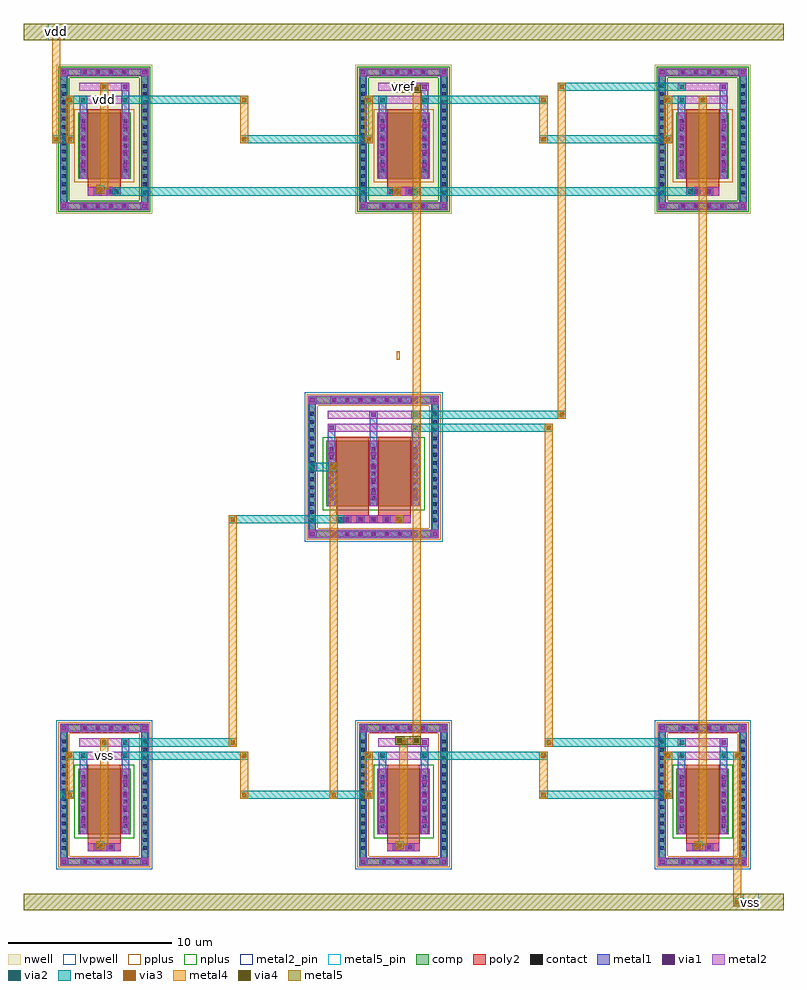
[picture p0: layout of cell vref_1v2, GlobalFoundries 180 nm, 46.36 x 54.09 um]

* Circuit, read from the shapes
.subckt vref_1v2 vdd vref vss
XM1 n1 n1 vss vss nfet_03v3 w=4u l=2u
XM2 n2 n1 n3 vss nfet_03v3 w=4u l=2u m=2
XM3 vref vref vss vss nfet_03v3 w=4u l=2u
XM4 n3 vdd vss vss nfet_03v3 w=4u l=2u
XM5 n4 n4 vdd vdd pfet_03v3 w=4u l=2u
XM6 vref n4 vdd vdd pfet_03v3 w=4u l=2u
XM7 n2 n4 vdd vdd pfet_03v3 w=4u l=2u
.ends

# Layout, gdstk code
import gdstk
lib = gdstk.Library(unit=1e-6, precision=5e-09)
def R(c, l, rs):  # rectangles x0, y0, x1, y1
    for r in rs: c.add(gdstk.rectangle(r[:2], r[2:], *l))
def A(c, l, x, y, w, h, nx, ny, dx, dy):  # array of equal rectangles
    R(c, l, [(x+i*dx, y+j*dy, x+i*dx+w, y+j*dy+h) for i in range(nx) for j in range(ny)])
def P(c, l, *ps):  # polygons
    for p in ps: c.add(gdstk.Polygon(p, *l))
nwell = (21, 0)
comp = (22, 0)
poly2 = (30, 0)
pplus = (31, 0)
nplus = (32, 0)
contact = (33, 0)
metal1 = (34, 0)
via1 = (35, 0)
metal2 = (36, 0)
metal2_pin = (36, 10)
via2 = (38, 0)
via3 = (40, 0)
via4 = (41, 0)
metal3 = (42, 0)
metal4 = (46, 0)
metal5 = (81, 0)
metal5_pin = (81, 10)
lvpwell = (204, 0)

vref_1v2 = lib.new_cell('vref_1v2')
A(vref_1v2, nwell, -2.93, 35.455, 5.86, 9.09, 3, 1, 18.25, 0)
A(vref_1v2, nwell, -2.77, 35.615, 5.54, 8.77, 3, 1, 18.25, 0)
A(vref_1v2, comp, -1.38, -4.265, 0.36, 0.36, 4, 2, 0.8, 8.17)
A(vref_1v2, comp, -1.38, -4.265, 2.76, 0.36, 3, 2, 18.25, 8.17)
A(vref_1v2, comp, 16.87, -4.265, 0.36, 0.36, 4, 2, 0.8, 8.17)
A(vref_1v2, comp, 35.12, -4.265, 0.36, 0.36, 4, 2, 0.8, 8.17)
A(vref_1v2, comp, -2.65, -3.43, 0.36, 0.36, 1, 14, 0, 0.5)
A(vref_1v2, comp, 2.29, -3.43, 0.36, 0.36, 1, 14, 0, 0.5)
A(vref_1v2, comp, 15.6, -3.43, 0.36, 0.36, 1, 14, 0, 0.5)
A(vref_1v2, comp, 20.54, -3.43, 0.36, 0.36, 1, 14, 0, 0.5)
A(vref_1v2, comp, 33.85, -3.43, 0.36, 0.36, 1, 14, 0, 0.5)
A(vref_1v2, comp, 38.79, -3.43, 0.36, 0.36, 1, 14, 0, 0.5)
A(vref_1v2, comp, -1.6, -2.405, 3.2, 4, 3, 2, 18.25, 40)
A(vref_1v2, comp, 13.845, 15.735, 0.36, 0.36, 7, 2, 0.8, 8.17)
A(vref_1v2, comp, 12.495, 16.57, 0.36, 0.36, 1, 14, 0, 0.5)
A(vref_1v2, comp, 19.995, 16.57, 0.36, 0.36, 1, 14, 0, 0.5)
A(vref_1v2, comp, -1.38, 35.735, 0.36, 0.36, 4, 2, 0.8, 8.17)
A(vref_1v2, comp, -1.38, 35.735, 2.76, 0.36, 3, 2, 18.25, 8.17)
A(vref_1v2, comp, 16.87, 35.735, 0.36, 0.36, 4, 2, 0.8, 8.17)
A(vref_1v2, comp, 35.12, 35.735, 0.36, 0.36, 4, 2, 0.8, 8.17)
A(vref_1v2, comp, -2.65, 36.57, 0.36, 0.36, 1, 14, 0, 0.5)
A(vref_1v2, comp, 2.29, 36.57, 0.36, 0.36, 1, 14, 0, 0.5)
A(vref_1v2, comp, 15.6, 36.57, 0.36, 0.36, 1, 14, 0, 0.5)
A(vref_1v2, comp, 20.54, 36.57, 0.36, 0.36, 1, 14, 0, 0.5)
A(vref_1v2, comp, 33.85, 36.57, 0.36, 0.36, 1, 14, 0, 0.5)
A(vref_1v2, comp, 38.79, 36.57, 0.36, 0.36, 1, 14, 0, 0.5)
R(vref_1v2, comp, [(-2.65,-3.43,-2.29,3.43), (2.29,-3.43,2.65,3.43), (15.6,-3.43,15.96,3.43), (20.54,-3.43,20.9,3.43), (33.85,-3.43,34.21,3.43), (38.79,-3.43,39.15,3.43), (13.845,15.735,19.005,16.095), (12.495,16.57,12.855,23.43), (19.995,16.57,20.355,23.43), (13.545,17.595,19.305,21.595), (13.845,23.905,19.005,24.265), (-2.65,36.57,-2.29,43.43), (2.29,36.57,2.65,43.43), (15.6,36.57,15.96,43.43), (20.54,36.57,20.9,43.43), (33.85,36.57,34.21,43.43), (38.79,36.57,39.15,43.43)])
P(vref_1v2, comp, [(2.65,44.265),(-2.65,44.265),(-2.65,36.095),(-2.29,36.095),(-2.29,43.905),(2.29,43.905),(2.29,36.095),(-2.29,36.095),(-2.65,36.095),(-2.65,35.735),(2.65,35.735)],
  [(20.9,4.265),(15.6,4.265),(15.6,-3.905),(15.96,-3.905),(15.96,3.905),(20.54,3.905),(20.54,-3.905),(15.96,-3.905),(15.6,-3.905),(15.6,-4.265),(20.9,-4.265)],
  [(39.15,4.265),(33.85,4.265),(33.85,-3.905),(34.21,-3.905),(34.21,3.905),(38.79,3.905),(38.79,-3.905),(34.21,-3.905),(33.85,-3.905),(33.85,-4.265),(39.15,-4.265)],
  [(20.355,24.265),(12.495,24.265),(12.495,16.095),(12.855,16.095),(12.855,23.905),(19.995,23.905),(19.995,16.095),(12.855,16.095),(12.495,16.095),(12.495,15.735),(20.355,15.735)],
  [(2.65,4.265),(-2.65,4.265),(-2.65,-3.905),(-2.29,-3.905),(-2.29,3.905),(2.29,3.905),(2.29,-3.905),(-2.29,-3.905),(-2.65,-3.905),(-2.65,-4.265),(2.65,-4.265)],
  [(20.9,44.265),(15.6,44.265),(15.6,36.095),(15.96,36.095),(15.96,43.905),(20.54,43.905),(20.54,36.095),(15.96,36.095),(15.6,36.095),(15.6,35.735),(20.9,35.735)],
  [(39.15,44.265),(33.85,44.265),(33.85,36.095),(34.21,36.095),(34.21,43.905),(38.79,43.905),(38.79,36.095),(34.21,36.095),(33.85,36.095),(33.85,35.735),(39.15,35.735)])
A(vref_1v2, poly2, -1, -3.445, 2, 0.5, 3, 2, 18.25, 40)
A(vref_1v2, poly2, -1, -2.945, 2, 0.3, 3, 2, 18.25, 40)
A(vref_1v2, poly2, -1, -2.645, 2, 4.48, 3, 2, 18.25, 40)
A(vref_1v2, poly2, 14.645, 16.625, 0.36, 0.36, 5, 1, 0.8, 0)
R(vref_1v2, poly2, [(-0.58,-3.375,-0.22,-3.015), (0.22,-3.375,0.58,-3.015), (17.67,-3.375,18.03,-3.015), (18.47,-3.375,18.83,-3.015), (35.92,-3.375,36.28,-3.015), (36.72,-3.375,37.08,-3.015), (14.145,16.555,18.705,17.055), (14.145,17.055,16.145,17.355), (16.705,17.055,18.705,17.355), (14.145,17.355,16.145,21.835), (16.705,17.355,18.705,21.835), (-0.58,36.625,-0.22,36.985), (0.22,36.625,0.58,36.985), (17.67,36.625,18.03,36.985), (18.47,36.625,18.83,36.985), (35.92,36.625,36.28,36.985), (36.72,36.625,37.08,36.985)])
A(vref_1v2, pplus, -1.83, 37.365, 3.66, 4.46, 3, 1, 18.25, 0)
P(vref_1v2, pplus, [(21.06,4.425),(15.44,4.425),(15.44,-3.745),(16.12,-3.745),(16.12,3.745),(20.38,3.745),(20.38,-3.745),(16.12,-3.745),(15.44,-3.745),(15.44,-4.425),(21.06,-4.425)],
  [(39.31,4.425),(33.69,4.425),(33.69,-3.745),(34.37,-3.745),(34.37,3.745),(38.63,3.745),(38.63,-3.745),(34.37,-3.745),(33.69,-3.745),(33.69,-4.425),(39.31,-4.425)],
  [(20.515,24.425),(12.335,24.425),(12.335,16.255),(13.015,16.255),(13.015,23.745),(19.835,23.745),(19.835,16.255),(13.015,16.255),(12.335,16.255),(12.335,15.575),(20.515,15.575)],
  [(2.81,4.425),(-2.81,4.425),(-2.81,-3.745),(-2.13,-3.745),(-2.13,3.745),(2.13,3.745),(2.13,-3.745),(-2.13,-3.745),(-2.81,-3.745),(-2.81,-4.425),(2.81,-4.425)])
A(vref_1v2, nplus, -1.83, -2.635, 3.66, 4.46, 3, 1, 18.25, 0)
R(vref_1v2, nplus, [(13.315,17.365,19.535,21.825)])
P(vref_1v2, nplus, [(2.81,44.425),(-2.81,44.425),(-2.81,36.255),(-2.13,36.255),(-2.13,43.745),(2.13,43.745),(2.13,36.255),(-2.13,36.255),(-2.81,36.255),(-2.81,35.575),(2.81,35.575)],
  [(21.06,44.425),(15.44,44.425),(15.44,36.255),(16.12,36.255),(16.12,43.745),(20.38,43.745),(20.38,36.255),(16.12,36.255),(15.44,36.255),(15.44,35.575),(21.06,35.575)],
  [(39.31,44.425),(33.69,44.425),(33.69,36.255),(34.37,36.255),(34.37,43.745),(38.63,43.745),(38.63,36.255),(34.37,36.255),(33.69,36.255),(33.69,35.575),(39.31,35.575)])
A(vref_1v2, contact, -1.31, -4.195, 0.22, 0.22, 4, 2, 0.8, 8.17)
A(vref_1v2, contact, 16.94, -4.195, 0.22, 0.22, 4, 2, 0.8, 8.17)
A(vref_1v2, contact, 35.19, -4.195, 0.22, 0.22, 4, 2, 0.8, 8.17)
A(vref_1v2, contact, -2.58, -3.36, 0.22, 0.22, 1, 14, 0, 0.5)
A(vref_1v2, contact, 2.36, -3.36, 0.22, 0.22, 1, 14, 0, 0.5)
A(vref_1v2, contact, 15.67, -3.36, 0.22, 0.22, 1, 14, 0, 0.5)
A(vref_1v2, contact, 20.61, -3.36, 0.22, 0.22, 1, 14, 0, 0.5)
A(vref_1v2, contact, 33.92, -3.36, 0.22, 0.22, 1, 14, 0, 0.5)
A(vref_1v2, contact, 38.86, -3.36, 0.22, 0.22, 1, 14, 0, 0.5)
A(vref_1v2, contact, -1.39, -2.015, 0.22, 0.22, 1, 7, 0, 0.5)
A(vref_1v2, contact, 1.17, -2.015, 0.22, 0.22, 1, 7, 0, 0.5)
A(vref_1v2, contact, 16.86, -2.015, 0.22, 0.22, 1, 7, 0, 0.5)
A(vref_1v2, contact, 19.42, -2.015, 0.22, 0.22, 1, 7, 0, 0.5)
A(vref_1v2, contact, 35.11, -2.015, 0.22, 0.22, 1, 7, 0, 0.5)
A(vref_1v2, contact, 37.67, -2.015, 0.22, 0.22, 1, 7, 0, 0.5)
A(vref_1v2, contact, 13.915, 15.805, 0.22, 0.22, 7, 2, 0.8, 8.17)
A(vref_1v2, contact, 12.565, 16.64, 0.22, 0.22, 1, 14, 0, 0.5)
A(vref_1v2, contact, 20.065, 16.64, 0.22, 0.22, 1, 14, 0, 0.5)
A(vref_1v2, contact, 14.715, 16.695, 0.22, 0.22, 5, 1, 0.8, 0)
A(vref_1v2, contact, 13.755, 17.985, 0.22, 0.22, 3, 7, 2.56, 0.5)
A(vref_1v2, contact, -1.31, 35.805, 0.22, 0.22, 4, 2, 0.8, 8.17)
A(vref_1v2, contact, 16.94, 35.805, 0.22, 0.22, 4, 2, 0.8, 8.17)
A(vref_1v2, contact, 35.19, 35.805, 0.22, 0.22, 4, 2, 0.8, 8.17)
A(vref_1v2, contact, -2.58, 36.64, 0.22, 0.22, 1, 14, 0, 0.5)
A(vref_1v2, contact, 2.36, 36.64, 0.22, 0.22, 1, 14, 0, 0.5)
A(vref_1v2, contact, 15.67, 36.64, 0.22, 0.22, 1, 14, 0, 0.5)
A(vref_1v2, contact, 20.61, 36.64, 0.22, 0.22, 1, 14, 0, 0.5)
A(vref_1v2, contact, 33.92, 36.64, 0.22, 0.22, 1, 14, 0, 0.5)
A(vref_1v2, contact, 38.86, 36.64, 0.22, 0.22, 1, 14, 0, 0.5)
A(vref_1v2, contact, -1.39, 37.985, 0.22, 0.22, 1, 7, 0, 0.5)
A(vref_1v2, contact, 1.17, 37.985, 0.22, 0.22, 1, 7, 0, 0.5)
A(vref_1v2, contact, 16.86, 37.985, 0.22, 0.22, 1, 7, 0, 0.5)
A(vref_1v2, contact, 19.42, 37.985, 0.22, 0.22, 1, 7, 0, 0.5)
A(vref_1v2, contact, 35.11, 37.985, 0.22, 0.22, 1, 7, 0, 0.5)
A(vref_1v2, contact, 37.67, 37.985, 0.22, 0.22, 1, 7, 0, 0.5)
R(vref_1v2, contact, [(-0.51,-3.305,-0.29,-3.085), (0.29,-3.305,0.51,-3.085), (17.74,-3.305,17.96,-3.085), (18.54,-3.305,18.76,-3.085), (35.99,-3.305,36.21,-3.085), (36.79,-3.305,37.01,-3.085), (-0.51,36.695,-0.29,36.915), (0.29,36.695,0.51,36.915), (17.74,36.695,17.96,36.915), (18.54,36.695,18.76,36.915), (35.99,36.695,36.21,36.915), (36.79,36.695,37.01,36.915)])
A(vref_1v2, metal1, -2.7, -4.335, 0.5, 0.5, 1, 3, 0, 4.085)
A(vref_1v2, metal1, -1.45, -4.335, 0.5, 0.5, 4, 2, 0.8, 8.17)
A(vref_1v2, metal1, -1.45, -4.335, 2.9, 0.5, 3, 2, 18.25, 8.17)
A(vref_1v2, metal1, 16.8, -4.335, 0.5, 0.5, 4, 2, 0.8, 8.17)
A(vref_1v2, metal1, 35.05, -4.335, 0.5, 0.5, 4, 2, 0.8, 8.17)
A(vref_1v2, metal1, -2.7, -3.48, 0.46, 0.46, 1, 14, 0, 0.5)
A(vref_1v2, metal1, 2.24, -3.48, 0.46, 0.46, 1, 14, 0, 0.5)
A(vref_1v2, metal1, 15.55, -3.48, 0.46, 0.46, 1, 14, 0, 0.5)
A(vref_1v2, metal1, 20.49, -3.48, 0.46, 0.46, 1, 14, 0, 0.5)
A(vref_1v2, metal1, 33.8, -3.48, 0.46, 0.46, 1, 14, 0, 0.5)
A(vref_1v2, metal1, 38.74, -3.48, 0.46, 0.46, 1, 14, 0, 0.5)
A(vref_1v2, metal1, -1.51, -2.135, 0.46, 0.46, 1, 7, 0, 0.5)
A(vref_1v2, metal1, 1.05, -2.135, 0.46, 0.46, 1, 7, 0, 0.5)
A(vref_1v2, metal1, 16.74, -2.135, 0.46, 0.46, 1, 7, 0, 0.5)
A(vref_1v2, metal1, 19.3, -2.135, 0.46, 0.46, 1, 7, 0, 0.5)
A(vref_1v2, metal1, 34.99, -2.135, 0.46, 0.46, 1, 7, 0, 0.5)
A(vref_1v2, metal1, 37.55, -2.135, 0.46, 0.46, 1, 7, 0, 0.5)
A(vref_1v2, metal1, -1.53, -1.855, 0.5, 0.5, 1, 4, 0, 0.8)
A(vref_1v2, metal1, 1.03, -1.855, 0.5, 0.5, 1, 4, 0, 0.8)
A(vref_1v2, metal1, 16.72, -1.855, 0.5, 0.5, 1, 4, 0, 0.8)
A(vref_1v2, metal1, 19.28, -1.855, 0.5, 0.5, 1, 4, 0, 0.8)
A(vref_1v2, metal1, 34.97, -1.855, 0.5, 0.5, 1, 4, 0, 0.8)
A(vref_1v2, metal1, 37.53, -1.855, 0.5, 0.5, 1, 4, 0, 0.8)
A(vref_1v2, metal1, -1.51, 1.595, 0.46, 1.05, 3, 2, 18.25, 40)
A(vref_1v2, metal1, 1.05, 1.595, 0.46, 1.85, 3, 2, 18.25, 40)
A(vref_1v2, metal1, -1.53, 2.145, 0.5, 0.5, 3, 2, 18.25, 40)
A(vref_1v2, metal1, 1.03, 2.945, 0.5, 0.5, 3, 2, 18.25, 40)
A(vref_1v2, metal1, 12.445, 15.665, 0.5, 0.5, 1, 3, 0, 4.085)
A(vref_1v2, metal1, 13.775, 15.665, 0.5, 0.5, 7, 2, 0.8, 8.17)
A(vref_1v2, metal1, 12.445, 16.52, 0.46, 0.46, 1, 14, 0, 0.5)
A(vref_1v2, metal1, 19.945, 16.52, 0.46, 0.46, 1, 14, 0, 0.5)
A(vref_1v2, metal1, 14.575, 16.555, 0.5, 0.5, 5, 1, 0.8, 0)
A(vref_1v2, metal1, 13.635, 17.595, 0.46, 4, 3, 1, 2.56, 0)
A(vref_1v2, metal1, 13.635, 17.865, 0.46, 0.46, 3, 7, 2.56, 0.5)
A(vref_1v2, metal1, 13.615, 18.145, 0.5, 0.5, 3, 4, 2.56, 0.8)
A(vref_1v2, metal1, 13.615, 18.145, 0.5, 2.9, 3, 1, 2.56, 0)
A(vref_1v2, metal1, -1.45, 35.665, 0.5, 0.5, 4, 2, 0.8, 8.17)
A(vref_1v2, metal1, -1.45, 35.665, 2.9, 0.5, 3, 2, 18.25, 8.17)
A(vref_1v2, metal1, 16.8, 35.665, 0.5, 0.5, 4, 2, 0.8, 8.17)
A(vref_1v2, metal1, 35.05, 35.665, 0.5, 0.5, 4, 2, 0.8, 8.17)
A(vref_1v2, metal1, -2.7, 36.52, 0.46, 0.46, 1, 14, 0, 0.5)
A(vref_1v2, metal1, 2.24, 36.52, 0.46, 0.46, 1, 14, 0, 0.5)
A(vref_1v2, metal1, 15.55, 36.52, 0.46, 0.46, 1, 14, 0, 0.5)
A(vref_1v2, metal1, 20.49, 36.52, 0.46, 0.46, 1, 14, 0, 0.5)
A(vref_1v2, metal1, 33.8, 36.52, 0.46, 0.46, 1, 14, 0, 0.5)
A(vref_1v2, metal1, 38.74, 36.52, 0.46, 0.46, 1, 14, 0, 0.5)
A(vref_1v2, metal1, -1.51, 37.865, 0.46, 0.46, 1, 7, 0, 0.5)
A(vref_1v2, metal1, 1.05, 37.865, 0.46, 0.46, 1, 7, 0, 0.5)
A(vref_1v2, metal1, 16.74, 37.865, 0.46, 0.46, 1, 7, 0, 0.5)
A(vref_1v2, metal1, 19.3, 37.865, 0.46, 0.46, 1, 7, 0, 0.5)
A(vref_1v2, metal1, 34.99, 37.865, 0.46, 0.46, 1, 7, 0, 0.5)
A(vref_1v2, metal1, 37.55, 37.865, 0.46, 0.46, 1, 7, 0, 0.5)
A(vref_1v2, metal1, -1.53, 38.145, 0.5, 0.5, 1, 4, 0, 0.8)
A(vref_1v2, metal1, 1.03, 38.145, 0.5, 0.5, 1, 4, 0, 0.8)
A(vref_1v2, metal1, 16.72, 38.145, 0.5, 0.5, 1, 4, 0, 0.8)
A(vref_1v2, metal1, 19.28, 38.145, 0.5, 0.5, 1, 4, 0, 0.8)
A(vref_1v2, metal1, 34.97, 38.145, 0.5, 0.5, 1, 4, 0, 0.8)
A(vref_1v2, metal1, 37.53, 38.145, 0.5, 0.5, 1, 4, 0, 0.8)
R(vref_1v2, metal1, [(-2.7,-4.335,-2.2,-3.835), (-2.7,-4.335,-2.24,-3.905), (2.2,-4.335,2.7,-3.835), (2.2,-4.335,2.7,-3.835), (2.24,-4.335,2.7,-3.905), (15.55,-4.335,16.05,-3.835), (15.55,-4.335,16.05,-3.835), (15.55,-4.335,16.01,-3.905), (20.45,-4.335,20.95,-3.835), (20.45,-4.335,20.95,-3.835), (20.49,-4.335,20.95,-3.905), (33.8,-4.335,34.3,-3.835), (33.8,-4.335,34.3,-3.835), (33.8,-4.335,34.26,-3.905), (38.7,-4.335,39.2,-3.835), (38.7,-4.335,39.2,-3.835), (38.74,-4.335,39.2,-3.905), (-2.7,-3.905,-2.24,3.905), (2.24,-3.905,2.7,3.905), (15.55,-3.905,16.01,3.905), (20.49,-3.905,20.95,3.905), (33.8,-3.905,34.26,3.905), (38.74,-3.905,39.2,3.905), (-0.65,-3.445,-0.15,-2.945), (0.15,-3.445,0.65,-2.945), (17.6,-3.445,18.1,-2.945), (18.4,-3.445,18.9,-2.945), (35.85,-3.445,36.35,-2.945), (36.65,-3.445,37.15,-2.945), (-1.51,-2.405,-1.05,1.595), (1.05,-2.405,1.51,1.595), (16.74,-2.405,17.2,1.595), (19.3,-2.405,19.76,1.595), (34.99,-2.405,35.45,1.595), (37.55,-2.405,38.01,1.595), (-1.53,-1.855,-1.03,1.045), (1.03,-1.855,1.53,1.045), (16.72,-1.855,17.22,1.045), (19.28,-1.855,19.78,1.045), (34.97,-1.855,35.47,1.045), (37.53,-1.855,38.03,1.045), (15.55,-0.25,16.05,0.25), (15.55,-0.25,16.05,0.25), (15.55,-0.25,16.05,0.25), (33.8,-0.25,34.3,0.25), (33.8,-0.25,34.3,0.25), (-2.7,3.835,-2.2,4.335), (2.2,3.835,2.7,4.335), (2.2,3.835,2.7,4.335), (15.55,3.835,16.05,4.335), (15.55,3.835,16.05,4.335), (20.45,3.835,20.95,4.335), (20.45,3.835,20.95,4.335), (33.8,3.835,34.3,4.335), (33.8,3.835,34.3,4.335), (38.7,3.835,39.2,4.335), (38.7,3.835,39.2,4.335), (-2.7,3.905,-2.24,4.335), (2.24,3.905,2.7,4.335), (15.55,3.905,16.01,4.335), (20.49,3.905,20.95,4.335), (33.8,3.905,34.26,4.335), (38.74,3.905,39.2,4.335), (12.445,15.665,12.945,16.165), (12.445,15.665,12.905,16.095), (13.775,15.665,19.075,16.165), (19.905,15.665,20.405,16.165), (19.905,15.665,20.405,16.165), (19.945,15.665,20.405,16.095), (12.445,16.095,12.905,23.905), (19.945,16.095,20.405,23.905), (13.635,21.595,14.095,22.645), (16.195,21.595,16.655,23.445), (18.755,21.595,19.215,22.645), (13.615,22.145,14.115,22.645), (18.735,22.145,19.235,22.645), (16.175,22.945,16.675,23.445), (12.445,23.835,12.945,24.335), (13.775,23.835,19.075,24.335), (19.905,23.835,20.405,24.335), (19.905,23.835,20.405,24.335), (12.445,23.905,12.905,24.335), (19.945,23.905,20.405,24.335), (-2.7,35.665,-2.2,36.165), (-2.7,35.665,-2.2,36.165), (-2.7,35.665,-2.24,36.095), (2.2,35.665,2.7,36.165), (2.2,35.665,2.7,36.165), (2.24,35.665,2.7,36.095), (15.55,35.665,16.05,36.165), (15.55,35.665,16.05,36.165), (15.55,35.665,16.01,36.095), (20.45,35.665,20.95,36.165), (20.45,35.665,20.95,36.165), (20.49,35.665,20.95,36.095), (33.8,35.665,34.3,36.165), (33.8,35.665,34.3,36.165), (33.8,35.665,34.26,36.095), (38.7,35.665,39.2,36.165), (38.7,35.665,39.2,36.165), (38.74,35.665,39.2,36.095), (-2.7,36.095,-2.24,43.905), (2.24,36.095,2.7,43.905), (15.55,36.095,16.01,43.905), (20.49,36.095,20.95,43.905), (33.8,36.095,34.26,43.905), (38.74,36.095,39.2,43.905), (-0.65,36.555,-0.15,37.055), (0.15,36.555,0.65,37.055), (17.6,36.555,18.1,37.055), (18.4,36.555,18.9,37.055), (35.85,36.555,36.35,37.055), (36.65,36.555,37.15,37.055), (-1.51,37.595,-1.05,41.595), (1.05,37.595,1.51,41.595), (16.74,37.595,17.2,41.595), (19.3,37.595,19.76,41.595), (34.99,37.595,35.45,41.595), (37.55,37.595,38.01,41.595), (-1.53,38.145,-1.03,41.045), (1.03,38.145,1.53,41.045), (16.72,38.145,17.22,41.045), (19.28,38.145,19.78,41.045), (34.97,38.145,35.47,41.045), (37.53,38.145,38.03,41.045), (-2.7,39.75,-2.2,40.25), (-2.7,39.75,-2.2,40.25), (15.55,39.75,16.05,40.25), (15.55,39.75,16.05,40.25), (33.8,39.75,34.3,40.25), (33.8,39.75,34.3,40.25), (-2.7,43.835,-2.2,44.335), (-2.7,43.835,-2.2,44.335), (2.2,43.835,2.7,44.335), (2.2,43.835,2.7,44.335), (15.55,43.835,16.05,44.335), (15.55,43.835,16.05,44.335), (20.45,43.835,20.95,44.335), (20.45,43.835,20.95,44.335), (33.8,43.835,34.3,44.335), (33.8,43.835,34.3,44.335), (38.7,43.835,39.2,44.335), (38.7,43.835,39.2,44.335), (-2.7,43.905,-2.24,44.335), (2.24,43.905,2.7,44.335), (15.55,43.905,16.01,44.335), (20.49,43.905,20.95,44.335), (33.8,43.905,34.26,44.335), (38.74,43.905,39.2,44.335)])
A(vref_1v2, via1, -2.58, -4.215, 0.26, 0.26, 1, 3, 0, 4.085)
A(vref_1v2, via1, -1.33, -4.215, 0.26, 0.26, 4, 2, 0.8, 8.17)
A(vref_1v2, via1, 16.92, -4.215, 0.26, 0.26, 4, 2, 0.8, 8.17)
A(vref_1v2, via1, 35.17, -4.215, 0.26, 0.26, 4, 2, 0.8, 8.17)
A(vref_1v2, via1, -1.41, -1.735, 0.26, 0.26, 1, 4, 0, 0.8)
A(vref_1v2, via1, 1.15, -1.735, 0.26, 0.26, 1, 4, 0, 0.8)
A(vref_1v2, via1, 16.84, -1.735, 0.26, 0.26, 1, 4, 0, 0.8)
A(vref_1v2, via1, 19.4, -1.735, 0.26, 0.26, 1, 4, 0, 0.8)
A(vref_1v2, via1, 35.09, -1.735, 0.26, 0.26, 1, 4, 0, 0.8)
A(vref_1v2, via1, 37.65, -1.735, 0.26, 0.26, 1, 4, 0, 0.8)
A(vref_1v2, via1, -1.41, 2.265, 0.26, 0.26, 3, 2, 18.25, 40)
A(vref_1v2, via1, 1.15, 3.065, 0.26, 0.26, 3, 2, 18.25, 40)
A(vref_1v2, via1, 12.565, 15.785, 0.26, 0.26, 1, 3, 0, 4.085)
A(vref_1v2, via1, 13.895, 15.785, 0.26, 0.26, 7, 2, 0.8, 8.17)
A(vref_1v2, via1, 14.695, 16.675, 0.26, 0.26, 5, 1, 0.8, 0)
A(vref_1v2, via1, 13.735, 18.265, 0.26, 0.26, 3, 4, 2.56, 0.8)
A(vref_1v2, via1, -1.33, 35.785, 0.26, 0.26, 4, 2, 0.8, 8.17)
A(vref_1v2, via1, 16.92, 35.785, 0.26, 0.26, 4, 2, 0.8, 8.17)
A(vref_1v2, via1, 35.17, 35.785, 0.26, 0.26, 4, 2, 0.8, 8.17)
A(vref_1v2, via1, -1.41, 38.265, 0.26, 0.26, 1, 4, 0, 0.8)
A(vref_1v2, via1, 1.15, 38.265, 0.26, 0.26, 1, 4, 0, 0.8)
A(vref_1v2, via1, 16.84, 38.265, 0.26, 0.26, 1, 4, 0, 0.8)
A(vref_1v2, via1, 19.4, 38.265, 0.26, 0.26, 1, 4, 0, 0.8)
A(vref_1v2, via1, 35.09, 38.265, 0.26, 0.26, 1, 4, 0, 0.8)
A(vref_1v2, via1, 37.65, 38.265, 0.26, 0.26, 1, 4, 0, 0.8)
R(vref_1v2, via1, [(2.32,-4.215,2.58,-3.955), (15.67,-4.215,15.93,-3.955), (20.57,-4.215,20.83,-3.955), (33.92,-4.215,34.18,-3.955), (38.82,-4.215,39.08,-3.955), (-0.53,-3.325,-0.27,-3.065), (0.27,-3.325,0.53,-3.065), (17.72,-3.325,17.98,-3.065), (18.52,-3.325,18.78,-3.065), (35.97,-3.325,36.23,-3.065), (36.77,-3.325,37.03,-3.065), (15.67,-0.13,15.93,0.13), (15.67,-0.13,15.93,0.13), (15.67,-0.13,15.93,0.13), (33.92,-0.13,34.18,0.13), (33.92,-0.13,34.18,0.13), (2.32,3.955,2.58,4.215), (15.67,3.955,15.93,4.215), (20.57,3.955,20.83,4.215), (33.92,3.955,34.18,4.215), (38.82,3.955,39.08,4.215), (20.025,15.785,20.285,16.045), (13.735,22.265,13.995,22.525), (18.855,22.265,19.115,22.525), (16.295,23.065,16.555,23.325), (20.025,23.955,20.285,24.215), (-2.58,35.785,-2.32,36.045), (2.32,35.785,2.58,36.045), (15.67,35.785,15.93,36.045), (20.57,35.785,20.83,36.045), (33.92,35.785,34.18,36.045), (38.82,35.785,39.08,36.045), (-0.53,36.675,-0.27,36.935), (0.27,36.675,0.53,36.935), (17.72,36.675,17.98,36.935), (18.52,36.675,18.78,36.935), (35.97,36.675,36.23,36.935), (36.77,36.675,37.03,36.935), (-2.58,39.87,-2.32,40.13), (-2.58,39.87,-2.32,40.13), (15.67,39.87,15.93,40.13), (15.67,39.87,15.93,40.13), (33.92,39.87,34.18,40.13), (33.92,39.87,34.18,40.13), (-2.58,43.955,-2.32,44.215), (2.32,43.955,2.58,44.215), (15.67,43.955,15.93,44.215), (20.57,43.955,20.83,44.215), (33.92,43.955,34.18,44.215), (38.82,43.955,39.08,44.215)])
A(vref_1v2, metal2, -2.7, -4.335, 0.5, 0.5, 1, 3, 0, 4.085)
A(vref_1v2, metal2, -2.29, -4.335, 4.58, 0.5, 3, 2, 18.25, 8.17)
A(vref_1v2, metal2, -1.45, -4.335, 0.5, 0.5, 4, 2, 0.8, 8.17)
A(vref_1v2, metal2, 16.8, -4.335, 0.5, 0.5, 4, 2, 0.8, 8.17)
A(vref_1v2, metal2, 35.05, -4.335, 0.5, 0.5, 4, 2, 0.8, 8.17)
A(vref_1v2, metal2, -1, -3.445, 2, 0.5, 3, 2, 18.25, 40)
A(vref_1v2, metal2, -0.5, -3.32, 0.5, 0.5, 3, 1, 18.25, 0)
A(vref_1v2, metal2, -1.53, -1.855, 0.5, 0.5, 1, 4, 0, 0.8)
A(vref_1v2, metal2, 1.03, -1.855, 0.5, 0.5, 1, 4, 0, 0.8)
A(vref_1v2, metal2, 16.72, -1.855, 0.5, 0.5, 1, 4, 0, 0.8)
A(vref_1v2, metal2, 19.28, -1.855, 0.5, 0.5, 1, 4, 0, 0.8)
A(vref_1v2, metal2, 34.97, -1.855, 0.5, 0.5, 1, 4, 0, 0.8)
A(vref_1v2, metal2, 37.53, -1.855, 0.5, 0.5, 1, 4, 0, 0.8)
A(vref_1v2, metal2, -1.53, 2.145, 0.5, 0.5, 3, 2, 1.28, 40)
A(vref_1v2, metal2, -1.53, 2.145, 3.06, 0.5, 3, 2, 18.25, 0.8)
A(vref_1v2, metal2, 12.445, 15.665, 0.5, 0.5, 1, 3, 0, 4.085)
A(vref_1v2, metal2, 13.775, 15.665, 0.5, 0.5, 7, 2, 0.8, 8.17)
A(vref_1v2, metal2, 14.575, 16.555, 0.5, 0.5, 5, 1, 0.8, 0)
A(vref_1v2, metal2, 13.615, 17.595, 0.5, 4, 3, 1, 2.56, 0)
A(vref_1v2, metal2, 13.615, 18.145, 0.5, 0.5, 3, 4, 2.56, 0.8)
A(vref_1v2, metal2, -2.29, 35.665, 4.58, 0.5, 3, 2, 18.25, 8.17)
A(vref_1v2, metal2, -1.45, 35.665, 0.5, 0.5, 4, 2, 0.8, 8.17)
A(vref_1v2, metal2, 16.8, 35.665, 0.5, 0.5, 4, 2, 0.8, 8.17)
A(vref_1v2, metal2, 35.05, 35.665, 0.5, 0.5, 4, 2, 0.8, 8.17)
A(vref_1v2, metal2, -1.53, 38.145, 0.5, 0.5, 1, 4, 0, 0.8)
A(vref_1v2, metal2, 1.03, 38.145, 0.5, 0.5, 1, 4, 0, 0.8)
A(vref_1v2, metal2, 16.72, 38.145, 0.5, 0.5, 1, 4, 0, 0.8)
A(vref_1v2, metal2, 19.28, 38.145, 0.5, 0.5, 1, 4, 0, 0.8)
A(vref_1v2, metal2, 34.97, 38.145, 0.5, 0.5, 1, 4, 0, 0.8)
A(vref_1v2, metal2, 37.53, 38.145, 0.5, 0.5, 1, 4, 0, 0.8)
A(vref_1v2, metal2, -1.53, 42.145, 3.06, 0.5, 3, 2, 18.25, 0.8)
R(vref_1v2, metal2, [(39.18,-6.795,39.68,-6.295), (39.18,-6.795,39.68,-6.295), (-2.7,-4.335,-2.2,-3.835), (-2.7,-4.335,-2.29,-3.835), (2.2,-4.335,2.7,-3.835), (2.2,-4.335,2.7,-3.835), (2.29,-4.335,2.7,-3.835), (15.55,-4.335,16.05,-3.835), (15.55,-4.335,16.05,-3.835), (15.55,-4.335,15.96,-3.835), (20.45,-4.335,20.95,-3.835), (20.45,-4.335,20.95,-3.835), (20.54,-4.335,20.95,-3.835), (33.8,-4.335,34.3,-3.835), (33.8,-4.335,34.3,-3.835), (33.8,-4.335,34.21,-3.835), (38.7,-4.335,39.2,-3.835), (38.7,-4.335,39.2,-3.835), (38.79,-4.335,39.2,-3.835), (-0.65,-3.445,-0.15,-2.945), (0.15,-3.445,0.65,-2.945), (17.6,-3.445,18.1,-2.945), (18.4,-3.445,18.9,-2.945), (35.85,-3.445,36.35,-2.945), (36.65,-3.445,37.15,-2.945), (-1.53,-2.405,-1.03,1.595), (1.03,-2.405,1.53,1.595), (16.72,-2.405,17.22,1.595), (19.28,-2.405,19.78,1.595), (34.97,-2.405,35.47,1.595), (37.53,-2.405,38.03,1.595), (15.55,-0.25,16.05,0.25), (15.55,-0.25,16.05,0.25), (15.55,-0.25,16.05,0.25), (33.8,-0.25,34.3,0.25), (33.8,-0.25,34.3,0.25), (-1.53,2.145,-1.03,2.645), (16.72,2.145,17.22,2.645), (16.72,2.145,17.22,2.645), (19.28,2.145,19.78,2.645), (34.97,2.145,35.47,2.645), (34.97,2.145,35.47,2.645), (37.53,2.145,38.03,2.645), (-0.25,2.945,0.25,3.445), (1.03,2.945,1.53,3.445), (1.03,2.945,1.53,3.445), (18,2.945,18.5,3.445), (19.28,2.945,19.78,3.445), (34.97,2.945,35.47,3.445), (37.53,2.945,38.03,3.445), (17.75,3.07,18.25,3.57), (-2.7,3.835,-2.2,4.335), (-2.7,3.835,-2.29,4.335), (2.2,3.835,2.7,4.335), (2.2,3.835,2.7,4.335), (2.29,3.835,2.7,4.335), (15.55,3.835,16.05,4.335), (15.55,3.835,16.05,4.335), (15.55,3.835,15.96,4.335), (20.45,3.835,20.95,4.335), (20.45,3.835,20.95,4.335), (20.54,3.835,20.95,4.335), (33.8,3.835,34.3,4.335), (33.8,3.835,34.3,4.335), (33.8,3.835,34.21,4.335), (38.7,3.835,39.2,4.335), (38.7,3.835,39.2,4.335), (38.79,3.835,39.2,4.335), (12.445,15.665,12.945,16.165), (12.445,15.665,12.855,16.165), (12.855,15.665,19.995,16.165), (19.905,15.665,20.405,16.165), (19.905,15.665,20.405,16.165), (19.995,15.665,20.405,16.165), (14.145,16.555,14.645,17.055), (14.145,16.555,18.705,17.055), (17.775,16.555,18.275,17.055), (13.615,22.145,14.115,22.645), (13.615,22.145,19.235,22.645), (18.735,22.145,19.235,22.645), (18.735,22.145,19.235,22.645), (13.615,22.945,19.235,23.445), (16.175,22.945,16.675,23.445), (18.735,22.945,19.235,23.445), (12.445,23.835,12.945,24.335), (12.445,23.835,12.855,24.335), (12.855,23.835,19.995,24.335), (19.905,23.835,20.405,24.335), (19.905,23.835,20.405,24.335), (19.995,23.835,20.405,24.335), (-2.7,35.665,-2.2,36.165), (-2.7,35.665,-2.2,36.165), (-2.7,35.665,-2.29,36.165), (2.2,35.665,2.7,36.165), (2.2,35.665,2.7,36.165), (2.29,35.665,2.7,36.165), (15.55,35.665,16.05,36.165), (15.55,35.665,16.05,36.165), (15.55,35.665,15.96,36.165), (20.45,35.665,20.95,36.165), (20.45,35.665,20.95,36.165), (20.54,35.665,20.95,36.165), (33.8,35.665,34.3,36.165), (33.8,35.665,34.3,36.165), (33.8,35.665,34.21,36.165), (38.7,35.665,39.2,36.165), (38.7,35.665,39.2,36.165), (38.79,35.665,39.2,36.165), (-0.65,36.555,-0.15,37.055), (0.15,36.555,0.65,37.055), (0.5,36.555,1,37.055), (17.25,36.555,17.75,37.055), (17.6,36.555,18.1,37.055), (17.6,36.555,18.1,37.055), (18.4,36.555,18.9,37.055), (18.75,36.555,19.25,37.055), (35.5,36.555,36,37.055), (35.85,36.555,36.35,37.055), (36.65,36.555,37.15,37.055), (-0.5,36.68,0,37.18), (-1.53,37.595,-1.03,41.595), (1.03,37.595,1.53,41.595), (16.72,37.595,17.22,41.595), (19.28,37.595,19.78,41.595), (34.97,37.595,35.47,41.595), (37.53,37.595,38.03,41.595), (-2.7,39.75,-2.2,40.25), (-2.7,39.75,-2.2,40.25), (15.55,39.75,16.05,40.25), (15.55,39.75,16.05,40.25), (33.8,39.75,34.3,40.25), (33.8,39.75,34.3,40.25), (-1.53,42.145,-1.03,42.645), (16.72,42.145,17.22,42.645), (16.72,42.145,17.22,42.645), (19.28,42.145,19.78,42.645), (34.97,42.145,35.47,42.645), (34.97,42.145,35.47,42.645), (36.25,42.145,36.75,42.645), (17.75,42.82,18.25,43.32), (-0.25,42.945,0.25,43.445), (1.03,42.945,1.53,43.445), (18,42.945,18.5,43.445), (19.28,42.945,19.78,43.445), (34.97,42.945,35.47,43.445), (37.53,42.945,38.03,43.445), (-2.7,43.835,-2.2,44.335), (-2.7,43.835,-2.2,44.335), (-2.7,43.835,-2.29,44.335), (2.2,43.835,2.7,44.335), (2.2,43.835,2.7,44.335), (2.29,43.835,2.7,44.335), (15.55,43.835,16.05,44.335), (15.55,43.835,16.05,44.335), (15.55,43.835,15.96,44.335), (20.45,43.835,20.95,44.335), (20.45,43.835,20.95,44.335), (20.54,43.835,20.95,44.335), (33.8,43.835,34.3,44.335), (33.8,43.835,34.3,44.335), (33.8,43.835,34.21,44.335), (38.7,43.835,39.2,44.335), (38.7,43.835,39.2,44.335), (38.79,43.835,39.2,44.335), (-3.18,46.295,-2.68,46.795), (-3.18,46.295,-2.68,46.795)])
R(vref_1v2, metal2_pin, [(-0.25,2.145,0.25,2.645), (-0.25,42.145,0.25,42.645), (18,42.945,18.5,43.445)])
A(vref_1v2, via2, -0.38, -3.2, 0.26, 0.26, 3, 1, 18.25, 0)
A(vref_1v2, via2, 1.15, 3.065, 0.26, 0.26, 3, 1, 16.97, 0)
R(vref_1v2, via2, [(39.3,-6.675,39.56,-6.415), (39.3,-6.675,39.56,-6.415), (-2.58,-0.13,-2.32,0.13), (15.67,-0.13,15.93,0.13), (15.67,-0.13,15.93,0.13), (15.67,-0.13,15.93,0.13), (33.92,-0.13,34.18,0.13), (33.92,-0.13,34.18,0.13), (-1.41,2.265,-1.15,2.525), (1.15,2.265,1.41,2.525), (16.84,2.265,17.1,2.525), (19.4,2.265,19.66,2.525), (35.09,2.265,35.35,2.525), (37.65,2.265,37.91,2.525), (-0.13,3.065,0.13,3.325), (17.87,3.19,18.13,3.45), (14.265,16.675,14.525,16.935), (17.895,16.675,18.155,16.935), (12.565,19.87,12.825,20.13), (18.855,22.265,19.115,22.525), (18.855,23.065,19.115,23.325), (0.62,36.675,0.88,36.935), (17.37,36.675,17.63,36.935), (17.72,36.675,17.98,36.935), (18.87,36.675,19.13,36.935), (35.62,36.675,35.88,36.935), (-0.38,36.8,-0.12,37.06), (-2.58,39.87,-2.32,40.13), (-2.58,39.87,-2.32,40.13), (15.67,39.87,15.93,40.13), (15.67,39.87,15.93,40.13), (33.92,39.87,34.18,40.13), (33.92,39.87,34.18,40.13), (-1.41,42.265,-1.15,42.525), (1.15,42.265,1.41,42.525), (16.84,42.265,17.1,42.525), (19.4,42.265,19.66,42.525), (35.09,42.265,35.35,42.525), (36.37,42.265,36.63,42.525), (17.87,42.94,18.13,43.2), (-0.13,43.065,0.13,43.325), (35.09,43.065,35.35,43.325), (-3.06,46.415,-2.8,46.675), (-3.06,46.415,-2.8,46.675)])
A(vref_1v2, via3, -0.38, -3.2, 0.26, 0.26, 3, 1, 18.25, 0)
R(vref_1v2, via3, [(38.475,-6.675,38.735,-6.415), (39.3,-6.675,39.56,-6.415), (-2.245,-0.13,-1.985,0.13), (8.41,-0.13,8.67,0.13), (13.87,-0.13,14.13,0.13), (16.005,-0.13,16.265,0.13), (26.66,-0.13,26.92,0.13), (34.255,-0.13,34.515,0.13), (-2.245,2.265,-1.985,2.525), (8.41,2.265,8.67,2.525), (16.005,2.265,16.265,2.525), (26.66,2.265,26.92,2.525), (34.255,2.265,34.515,2.525), (38.475,2.265,38.735,2.525), (-0.13,3.065,0.13,3.325), (7.71,3.065,7.97,3.325), (18.12,3.065,18.38,3.325), (26.975,3.065,27.235,3.325), (17.87,3.19,18.13,3.45), (7.71,16.675,7.97,16.935), (17.895,16.675,18.155,16.935), (13.87,19.87,14.13,20.13), (26.975,22.265,27.235,22.525), (27.775,23.065,28.035,23.325), (17.72,36.675,17.98,36.935), (-0.38,36.8,-0.12,37.06), (-3.07,39.87,-2.81,40.13), (-2.245,39.87,-1.985,40.13), (8.41,39.87,8.67,40.13), (16.005,39.87,16.265,40.13), (26.66,39.87,26.92,40.13), (34.255,39.87,34.515,40.13), (-2.245,42.265,-1.985,42.525), (8.41,42.265,8.67,42.525), (16.005,42.265,16.265,42.525), (26.66,42.265,26.92,42.525), (34.255,42.265,34.515,42.525), (36.37,42.265,36.63,42.525), (17.87,42.94,18.13,43.2), (-0.13,43.065,0.13,43.325), (27.775,43.065,28.035,43.325), (-3.07,46.415,-2.81,46.675), (-3.06,46.415,-2.8,46.675)])
R(vref_1v2, via4, [(39.3,-6.675,39.56,-6.415), (17.87,3.19,18.13,3.45), (18.92,3.19,19.18,3.45), (17.87,42.94,18.13,43.2), (18.92,42.94,19.18,43.2), (-3.06,46.415,-2.8,46.675)])
A(vref_1v2, metal3, -0.5, -3.32, 0.5, 0.5, 3, 1, 18.25, 0)
A(vref_1v2, metal3, -2.7, -0.25, 0.585, 0.5, 3, 2, 18.25, 40)
A(vref_1v2, metal3, -2.115, 2.145, 0.585, 0.5, 3, 2, 18.25, 40)
R(vref_1v2, metal3, [(38.355,-6.795,38.855,-6.295), (38.605,-6.795,39.18,-6.295), (39.18,-6.795,39.68,-6.295), (39.18,-6.795,39.68,-6.295), (-2.7,-0.25,-2.2,0.25), (-2.365,-0.25,-1.865,0.25), (8.29,-0.25,8.79,0.25), (8.54,-0.25,15.55,0.25), (13.75,-0.25,14.25,0.25), (14,-0.25,15.55,0.25), (15.55,-0.25,16.05,0.25), (15.55,-0.25,16.05,0.25), (15.55,-0.25,16.05,0.25), (15.885,-0.25,16.385,0.25), (26.54,-0.25,27.04,0.25), (26.79,-0.25,33.8,0.25), (33.8,-0.25,34.3,0.25), (33.8,-0.25,34.3,0.25), (34.135,-0.25,34.635,0.25), (-2.365,2.145,-1.865,2.645), (-1.53,2.145,-1.03,2.645), (1.03,2.145,1.53,2.645), (1.53,2.145,8.54,2.645), (8.29,2.145,8.79,2.645), (15.885,2.145,16.385,2.645), (16.72,2.145,17.22,2.645), (19.28,2.145,19.78,2.645), (19.78,2.145,26.79,2.645), (26.54,2.145,27.04,2.645), (34.135,2.145,34.635,2.645), (34.97,2.145,35.47,2.645), (37.53,2.145,38.03,2.645), (38.03,2.145,38.605,2.645), (38.355,2.145,38.855,2.645), (-0.25,2.945,0.25,3.445), (1.03,2.945,1.53,3.445), (1.53,2.945,7.84,3.445), (7.59,2.945,8.09,3.445), (18,2.945,18.5,3.445), (26.855,2.945,27.355,3.445), (27.105,2.945,34.97,3.445), (34.97,2.945,35.47,3.445), (17.75,3.07,18.25,3.57), (7.59,16.555,8.09,17.055), (7.84,16.555,14.145,17.055), (14.145,16.555,14.645,17.055), (17.775,16.555,18.275,17.055), (12.445,19.75,14,20.25), (12.445,19.75,12.945,20.25), (13.75,19.75,14.25,20.25), (18.735,22.145,19.235,22.645), (19.235,22.145,27.105,22.645), (26.855,22.145,27.355,22.645), (18.735,22.945,19.235,23.445), (19.235,22.945,27.905,23.445), (27.655,22.945,28.155,23.445), (0.5,36.555,1,37.055), (1,36.555,17.25,37.055), (17.25,36.555,17.75,37.055), (17.6,36.555,18.1,37.055), (18.75,36.555,19.25,37.055), (19.25,36.555,35.5,37.055), (35.5,36.555,36,37.055), (-0.5,36.68,0,37.18), (-3.19,39.75,-2.69,40.25), (-2.94,39.75,-2.7,40.25), (-2.7,39.75,-2.2,40.25), (-2.7,39.75,-2.2,40.25), (-2.365,39.75,-1.865,40.25), (8.29,39.75,8.79,40.25), (8.54,39.75,15.55,40.25), (15.55,39.75,16.05,40.25), (15.55,39.75,16.05,40.25), (15.885,39.75,16.385,40.25), (26.54,39.75,27.04,40.25), (26.79,39.75,33.8,40.25), (33.8,39.75,34.3,40.25), (33.8,39.75,34.3,40.25), (34.135,39.75,34.635,40.25), (-2.365,42.145,-1.865,42.645), (-1.53,42.145,-1.03,42.645), (1.03,42.145,1.53,42.645), (1.53,42.145,8.54,42.645), (8.29,42.145,8.79,42.645), (15.885,42.145,16.385,42.645), (16.72,42.145,17.22,42.645), (19.28,42.145,19.78,42.645), (19.78,42.145,26.79,42.645), (26.54,42.145,27.04,42.645), (34.135,42.145,34.635,42.645), (34.97,42.145,35.47,42.645), (36.25,42.145,36.75,42.645), (17.75,42.82,18.25,43.32), (-0.25,42.945,0.25,43.445), (27.655,42.945,28.155,43.445), (27.905,42.945,34.97,43.445), (34.97,42.945,35.47,43.445), (-3.19,46.295,-2.69,46.795), (-3.18,46.295,-2.94,46.795), (-3.18,46.295,-2.68,46.795), (-3.18,46.295,-2.68,46.795)])
A(vref_1v2, metal4, -0.5, -3.32, 0.5, 0.5, 3, 1, 18.25, 0)
R(vref_1v2, metal4, [(38.355,-6.795,38.855,-6.295), (39.18,-6.795,39.68,-6.295), (38.355,-6.545,38.855,2.395), (-0.25,-3.07,0.25,2.945), (18,-3.07,18.5,2.945), (36.25,-3.07,36.75,42.145), (-2.365,-0.25,-1.865,0.25), (8.29,-0.25,8.79,0.25), (13.75,-0.25,14.25,0.25), (15.885,-0.25,16.385,0.25), (26.54,-0.25,27.04,0.25), (34.135,-0.25,34.635,0.25), (-2.365,0,-1.865,2.395), (8.29,0,8.79,2.395), (13.75,0,14.25,20), (15.885,0,16.385,2.395), (26.54,0,27.04,2.395), (34.135,0,34.635,2.395), (-2.365,2.145,-1.865,2.645), (8.29,2.145,8.79,2.645), (15.885,2.145,16.385,2.645), (26.54,2.145,27.04,2.645), (34.135,2.145,34.635,2.645), (38.355,2.145,38.855,2.645), (-0.25,2.945,0.25,3.445), (7.59,2.945,8.09,3.445), (18,2.945,18.5,3.445), (26.855,2.945,27.355,3.445), (17.75,3.07,18.25,3.57), (18.8,3.07,19.3,3.57), (7.59,3.195,8.09,16.805), (26.855,3.195,27.355,22.395), (18.8,3.32,19.3,43.07), (7.59,16.555,8.09,17.055), (17.775,16.555,18.275,17.055), (13.75,19.75,14.25,20.25), (26.855,22.145,27.355,22.645), (27.655,22.945,28.155,23.445), (27.655,23.195,28.155,43.195), (17.85,26.555,18.025,27.055), (17.6,36.555,18.1,37.055), (-0.5,36.68,0,37.18), (-0.25,36.93,0.25,42.945), (-3.19,39.75,-2.69,40.25), (-2.365,39.75,-1.865,40.25), (8.29,39.75,8.79,40.25), (15.885,39.75,16.385,40.25), (26.54,39.75,27.04,40.25), (34.135,39.75,34.635,40.25), (-3.19,40,-2.69,46.545), (-2.365,40,-1.865,42.395), (8.29,40,8.79,42.395), (15.885,40,16.385,42.395), (26.54,40,27.04,42.395), (34.135,40,34.635,42.395), (-2.365,42.145,-1.865,42.645), (8.29,42.145,8.79,42.645), (15.885,42.145,16.385,42.645), (26.54,42.145,27.04,42.645), (34.135,42.145,34.635,42.645), (36.25,42.145,36.75,42.645), (17.75,42.82,18.25,43.32), (18.8,42.82,19.3,43.32), (-0.25,42.945,0.25,43.445), (27.655,42.945,28.155,43.445), (-3.19,46.295,-2.69,46.795), (-3.18,46.295,-2.68,46.795)])
R(vref_1v2, metal5, [(-4.93,-7.045,41.43,-6.045), (39.18,-6.795,39.68,-6.295), (17.75,3.07,18.25,3.57), (18.25,3.07,19.05,3.57), (18.8,3.07,19.3,3.57), (17.75,42.82,18.25,43.32), (18.25,42.82,19.05,43.32), (18.8,42.82,19.3,43.32), (-4.93,46.045,41.43,47.045), (-3.18,46.295,-2.68,46.795)])
R(vref_1v2, metal5_pin, [(38.93,-7.045,39.93,-6.045), (-3.43,46.045,-2.43,47.045)])
A(vref_1v2, lvpwell, -2.93, -4.545, 5.86, 9.09, 3, 1, 18.25, 0)
R(vref_1v2, lvpwell, [(12.215,15.455,20.635,24.545)])
vref_1v2.add(gdstk.Label('vdd', (-2.93,46.545), layer=81, texttype=10))
vref_1v2.add(gdstk.Label('vss', (39.43,-6.545), layer=81, texttype=10))
vref_1v2.add(gdstk.Label('vref', (18.25,43.195), layer=36, texttype=10))
vref_1v2.add(gdstk.Label('vss', (0,2.395), layer=36, texttype=10))
vref_1v2.add(gdstk.Label('vdd', (0,42.395), layer=36, texttype=10))

lib.write_gds('vref_1v2.gds')
